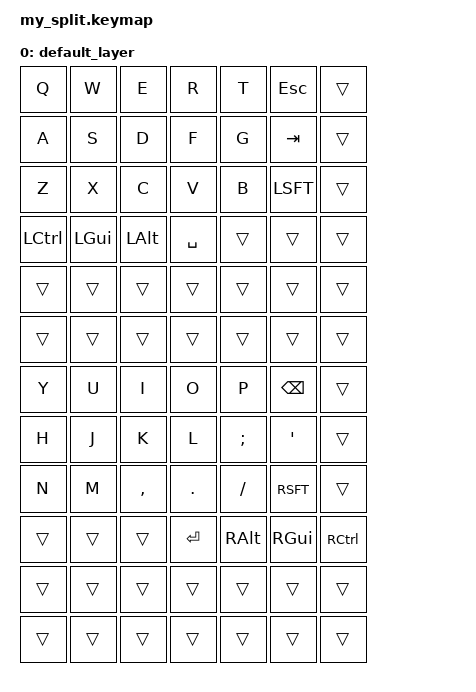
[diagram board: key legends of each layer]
/ {
    keymap {
        compatible = "zmk,keymap";

        default_layer {
            bindings = <
                /* Left half block (6x7 positions; many are &trans) */
                &kp Q   &kp W   &kp E   &kp R   &kp T   &kp ESC  &trans
                &kp A   &kp S   &kp D   &kp F   &kp G   &kp TAB  &trans
                &kp Z   &kp X   &kp C   &kp V   &kp B   &kp LSFT &trans
                &kp LCTRL &kp LGUI &kp LALT &kp SPACE &trans &trans &trans
                &trans  &trans  &trans  &trans  &trans  &trans  &trans
                &trans  &trans  &trans  &trans  &trans  &trans  &trans

                /* Right half block */
                &kp Y   &kp U   &kp I   &kp O   &kp P   &kp BSPC &trans
                &kp H   &kp J   &kp K   &kp L   &kp SEMI &kp QUOT &trans
                &kp N   &kp M   &kp COMMA &kp DOT &kp SLASH &kp RSFT &trans
                &trans  &trans  &trans  &kp ENTER &kp RALT &kp RGUI &kp RCTRL
                &trans  &trans  &trans  &trans    &trans   &trans   &trans
                &trans  &trans  &trans  &trans    &trans   &trans   &trans
            >;
        };
    };
};
